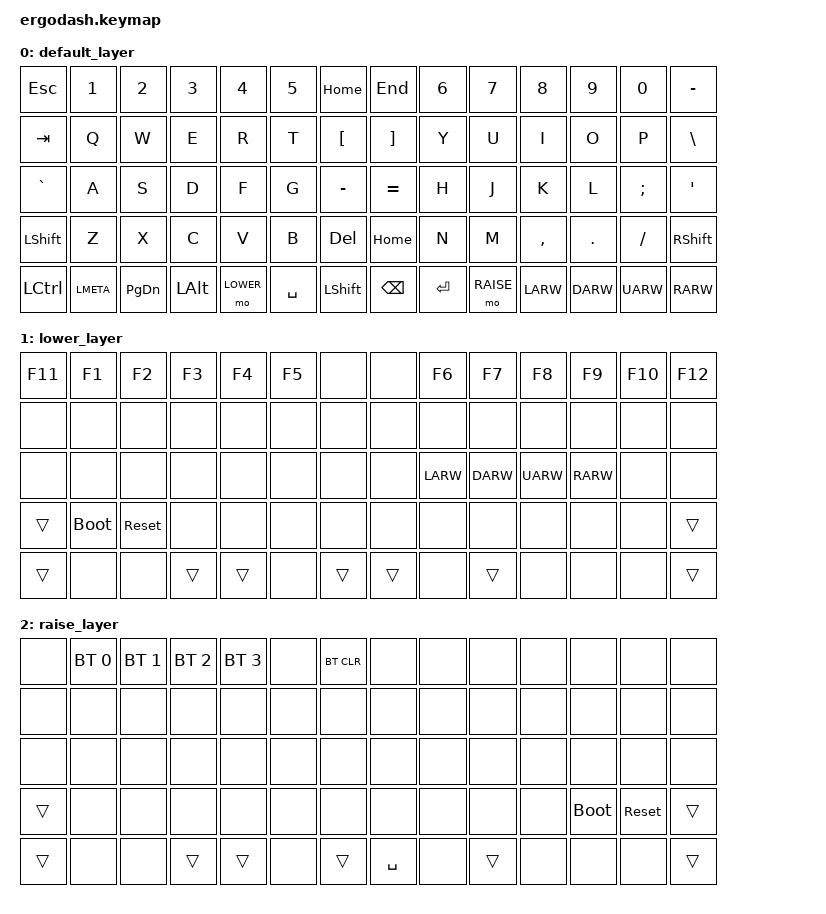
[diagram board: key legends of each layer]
/*
 * Copyright (c) 2020 The ZMK Contributors
 *
 * SPDX-License-Identifier: MIT
 */

#include <behaviors.dtsi>
#include <dt-bindings/zmk/keys.h>
#include <dt-bindings/zmk/bt.h>

#define DEFAULT 0
#define LOWER   1
#define RAISE   2


/ {
        keymap {
                compatible = "zmk,keymap";

                default_layer {
/* QWERTY
 * .----------------------------------------------------------------------------------------------------------------------.
 * |  ESC |   1  |   2  |   3  |   4  |   5  | Home  |                   | End  |   6  |   7  |   8  |   9  |   0  |  -   |
 * |------+------+------+------+------+------+------+--------------------+------+------+------+------+------+------+------|
 * | Tab  |   Q  |   W  |   E  |   R  |   T  |  [   |                    |  ]   |   Y  |   U  |   I  |   O  |   P  |  \   |
 * |------+------+------+------+------+------+------+--------------------+------+------+------+------+------+------+------|
 * |   `  |   A  |   S  |   D  |   F  |   G  |  -   |                    |  =   |   H  |   J  |   K  |   L  |   ;  |  '   |
 * |------+------+------+------+------+------+---------------------------+------+------+------+------+------+------+------|
 * | Shift|   Z  |   X  |   C  |   V  |   B  | Del  |                    | Home |   N  |   M  |   ,  |   .  |   /  | Shift|
 * |-------------+------+------+------+------+------+------+------+------+------+------+------+------+------+-------------|
 * | Ctrl | Win  | PGDN | Alt  |||||||| Lower| Space| Shift|||||||| Bksp | Enter| Raise ||||||| LARW | DARW | UARW | RARW |
 * .----------------------------------------------------------------------------------------------------------------------.
 */
                        bindings = <
&kp  ESC      &kp  N1       &kp  N2       &kp  N3       &kp  N4       &kp  N5       &kp  HOME             &kp  END      &kp  N6       &kp  N7       &kp  N8       &kp  N9       &kp  N0       &kp  MINUS
&kp  TAB      &kp  Q        &kp  W        &kp  E        &kp  R        &kp  T        &kp  LBKT             &kp  RBKT     &kp  Y        &kp  U        &kp  I        &kp  O        &kp  P        &kp  BSLH
&kp  GRAVE    &kp  A        &kp  S        &kp  D        &kp  F        &kp  G        &kp  MINUS            &kp  EQUAL    &kp  H        &kp  J        &kp  K        &kp  L        &kp  SEMI     &kp  SQT
&kp  LSHFT    &kp  Z        &kp  X        &kp  C        &kp  V        &kp  B        &kp  DEL              &kp  HOME     &kp  N        &kp  M        &kp  COMMA    &kp  DOT      &kp  SLASH    &kp  RSHFT
&kp  LCTRL    &kp  LMETA    &kp  PG_DN    &kp  LALT     &mo  LOWER    &kp  SPACE    &kp  LSHFT            &kp  BSPC    &kp  RET       &mo  RAISE    &kp  LARW     &kp  DARW     &kp  UARW     &kp  RARW
                        >;
                };
                lower_layer {
/* .----------------------------------------------------------------------------------------------------------------------.
 * |  F11 |  F1  |  F2  |  F3  |  F4  |  F5  |      |                    |      |  F6  |  F7  |  F8  |  F9  |  F10 |  F12 |
 * |------+------+------+------+------+------+------+--------------------+------+------+------+------+------+------+------|
 * |      |      |      |      |      |      |      |                    |      |      |      |      |      |      |      |
 * |------+------+------+------+------+------+------+--------------------+------+------+------+------+------+------+------|
 * |      |      |      |      |      |      |      |                    |      | LARW | DARW | UARW | RARW |      |
 * |------+------+------+------+------+------+---------------------------+------+------+------+------+------+------+------|
 * | Shift| Boot | Reset|      |      |      |      |                    |      |      |      |      |      |      | Shift|
 * |-------------+------+------+------+------+------+------+------+------+------+------+------+------+------+-------------|
 * | Ctlr |      |      |  Win |||||||| Alt  |      | Lower|||||||| Raise|      | RAlt ||||||||      |      |      | RCtrl|
 * .----------------------------------------------------------------------------------------------------------------------.
 */ /* FIXME boot and reset are not yet locale aware */
                        bindings = <
&kp  F11      &kp  F1       &kp  F2       &kp  F3       &kp  F4       &kp  F5       &none                  &none         &kp  F6       &kp  F7       &kp  F8       &kp  F9       &kp  F10      &kp  F12
&none         &none         &none         &none         &none         &none         &none                  &none         &none         &none         &none         &none         &none         &none
&none         &none         &none         &none         &none         &none         &none                  &none         &kp  LARW     &kp  DARW     &kp  UARW     &kp  RARW         &none     &none        
&trans        &bootloader   &sys_reset        &none         &none         &none         &none                  &none         &none         &none         &none         &none         &none         &trans
&trans        &none         &none         &trans        &trans        &none         &trans                 &trans        &none         &trans        &none         &none         &none         &trans
                        >;
                };
                raise_layer {
/* .----------------------------------------------------------------------------------------------------------------------.
 * |      | BT 0 | BT 1 | BT 2 | BT 3 |      | BTCL |                    |      |      |      |      |      |      |      |
 * |------+------+------+------+------+------+------+--------------------+------+------+------+------+------+------+------|
 * |      |      |      |      |      |      |      |                    |      |      |      |      |      |      |      |
 * |------+------+------+------+------+------+------+--------------------+------+------+------+------+------+------+------|
 * |      |      |      |      |      |      |      |                    |      |      |      |      |      |      |      |
 * |------+------+------+------+------+------+---------------------------+------+------+------+------+------+------+------|
 * | Shift|      |      |      |      |      |      |                    |      |      |      |      | Boot | Reset| Shift|
 * |-------------+------+------+------+------+------+------+------+------+------+------+------+------+------+-------------|
 * | Ctlr |      |      |  Win |||||||| Alt  |      | Lower|||||||| Raise|      | RAlt ||||||||      |      |      | RCtrl|
 * .----------------------------------------------------------------------------------------------------------------------.
 */ /* FIXME boot and reset are not yet locale aware */
                        bindings = <
&none         &bt BT_SEL 0  &bt BT_SEL 1  &bt BT_SEL 2  &bt BT_SEL 3  &none         &bt BT_CLR             &none         &none         &none         &none         &none         &none         &none
&none         &none         &none         &none         &none         &none         &none                  &none         &none         &none         &none         &none         &none         &none
&none         &none         &none         &none         &none         &none         &none                  &none         &none         &none         &none         &none         &none         &none
&trans        &none         &none         &none         &none         &none         &none                  &none         &none         &none         &none         &bootloader   &sys_reset        &trans
&trans        &none         &none         &trans        &trans        &none         &trans                 &kp  SPACE    &none         &trans        &none         &none         &none         &trans
                        >;
                };
        };
};

